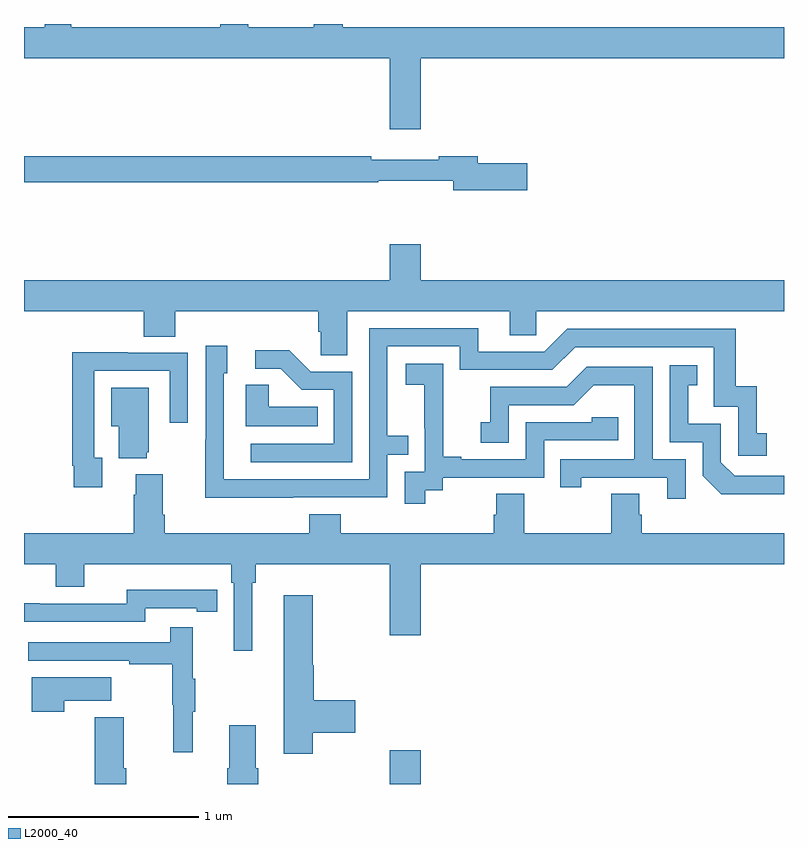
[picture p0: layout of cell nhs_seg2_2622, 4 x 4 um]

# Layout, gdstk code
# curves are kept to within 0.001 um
import gdstk
lib = gdstk.Library(unit=1e-6, precision=1e-09)
def R(c, l, rs):  # rectangles x0, y0, x1, y1
    for r in rs: c.add(gdstk.rectangle(r[:2], r[2:], *l))
def P(c, l, *ps):  # polygons
    for p in ps: c.add(gdstk.Polygon(p, *l))
L2000_40 = (2000, 40)

nhs_seg2_2622 = lib.new_cell('nhs_seg2_2622')
R(nhs_seg2_2622, L2000_40, [(248.924,659.8,249.088,659.977)])
P(nhs_seg2_2622, L2000_40, [(249.088,663.62),(251,663.62),(251,663.784),(248.678,663.784),(248.678,663.8),(248.525,663.8),(248.525,663.784),(248.181,663.784),(248.181,663.8),(248.033,663.8),(248.033,663.784),(247.249,663.784),(247.249,663.8),(247.109,663.8),(247.109,663.784),(247,663.784),(247,663.62),(248.924,663.62),(248.924,663.246),(249.088,663.246)],
  [(249.649,663.068),(249.388,663.068),(249.388,663.104),(249.184,663.104),(249.184,663.085),(248.828,663.085),(248.828,663.104),(247,663.104),(247,662.968),(248.864,662.968),(248.864,662.976),(249.26,662.976),(249.26,662.926),(249.649,662.926)],
  [(248.701,662.288),(249.557,662.288),(249.557,662.161),(249.696,662.161),(249.696,662.288),(251,662.288),(251,662.452),(249.088,662.452),(249.088,662.641),(248.924,662.641),(248.924,662.452),(247,662.452),(247,662.288),(247.631,662.288),(247.631,662.155),(247.796,662.155),(247.796,662.288),(248.549,662.288),(248.549,662.179),(248.562,662.179),(248.562,662.056),(248.701,662.056)],
  [(248.417,661.308),(248.913,661.308),(248.913,661.533),(249.023,661.533),(249.023,661.634),(248.913,661.634),(248.913,662.103),(249.294,662.103),(249.294,661.98),(249.78,661.98),(249.9,662.1),(250.629,662.1),(250.629,661.785),(250.758,661.785),(250.758,661.527),(250.909,661.527),(250.909,661.647),(250.856,661.647),(250.856,661.894),(250.745,661.894),(250.745,662.196),(249.858,662.196),(249.738,662.076),(249.391,662.076),(249.391,662.199),(248.817,662.199),(248.817,661.404),(248.052,661.404),(248.052,661.962),(248.071,661.962),(248.071,662.107),(247.956,662.107),(247.956,661.613),(247.954,661.613),(247.954,661.307)],
  [(248.727,661.971),(248.508,661.971),(248.395,662.084),(248.217,662.084),(248.217,661.986),(248.351,661.986),(248.462,661.875),(248.631,661.875),(248.631,661.59),(248.193,661.59),(248.193,661.494),(248.727,661.494)],
  [(247.411,661.518),(247.371,661.518),(247.371,661.974),(247.767,661.974),(247.767,661.701),(247.863,661.701),(247.863,662.07),(247.547,662.07),(247.547,662.072),(247.255,662.072),(247.255,661.474),(247.263,661.474),(247.263,661.362),(247.411,661.362)],
  [(249.112,661.345),(249.204,661.345),(249.204,661.413),(249.738,661.413),(249.738,661.608),(250.127,661.608),(250.127,661.731),(249.987,661.731),(249.987,661.704),(249.642,661.704),(249.642,661.509),(249.301,661.509),(249.301,661.522),(249.206,661.522),(249.206,661.805),(249.207,661.805),(249.207,662.011),(249.009,662.011),(249.009,661.901),(249.107,661.901),(249.107,661.673),(249.108,661.673),(249.108,661.443),(249.003,661.443),(249.003,661.275),(249.112,661.275)],
  [(251,661.422),(250.74,661.422),(250.668,661.494),(250.668,661.695),(250.495,661.695),(250.495,661.899),(250.544,661.899),(250.544,662.005),(250.398,662.005),(250.398,661.599),(250.572,661.599),(250.572,661.422),(250.67,661.325),(251,661.325)],
  [(250.482,661.509),(250.308,661.509),(250.308,661.995),(249.962,661.995),(249.857,661.89),(249.454,661.89),(249.454,661.705),(249.405,661.705),(249.405,661.596),(249.552,661.596),(249.552,661.794),(249.894,661.794),(249.998,661.898),(250.212,661.898),(250.212,661.509),(249.823,661.509),(249.823,661.362),(249.934,661.362),(249.934,661.413),(250.385,661.413),(250.385,661.302),(250.482,661.302)],
  [(248.546,661.786),(248.289,661.786),(248.289,661.901),(248.168,661.901),(248.168,661.682),(248.546,661.682)],
  [(247.646,661.545),(247.657,661.545),(247.657,661.885),(247.46,661.885),(247.46,661.682),(247.499,661.682),(247.499,661.514),(247.646,661.514)],
  [(251,661.12),(250.25,661.12),(250.25,661.218),(250.237,661.218),(250.237,661.328),(250.09,661.328),(250.09,661.12),(249.633,661.12),(249.633,661.328),(249.485,661.328),(249.485,661.218),(249.473,661.218),(249.473,661.12),(248.666,661.12),(248.666,661.219),(248.501,661.219),(248.501,661.12),(247.742,661.12),(247.742,661.216),(247.729,661.216),(247.729,661.429),(247.589,661.429),(247.589,661.322),(247.577,661.322),(247.577,661.12),(247,661.12),(247,660.956),(247.166,660.956),(247.166,660.839),(247.318,660.839),(247.318,660.956),(248.09,660.956),(248.09,660.86),(248.103,660.86),(248.103,660.501),(248.2,660.501),(248.2,660.86),(248.219,660.86),(248.219,660.956),(248.924,660.956),(248.924,660.582),(249.088,660.582),(249.088,660.956),(251,660.956)],
  [(247.638,660.726),(247.91,660.726),(247.91,660.706),(248.018,660.706),(248.018,660.822),(247.91,660.822),(247.91,660.823),(247.542,660.823),(247.542,660.75),(247.082,660.75),(247.082,660.752),(247,660.752),(247,660.654),(247.638,660.654)],
  [(248.52,660.071),(248.743,660.071),(248.743,660.242),(248.525,660.242),(248.525,660.425),(248.52,660.425),(248.52,660.793),(248.366,660.793),(248.366,659.958),(248.52,659.958)],
  [(247.889,660.179),(247.9,660.179),(247.9,660.353),(247.889,660.353),(247.889,660.625),(247.771,660.625),(247.771,660.546),(247.023,660.546),(247.023,660.45),(247.555,660.45),(247.555,660.43),(247.779,660.43),(247.779,660.216),(247.786,660.216),(247.786,659.967),(247.889,659.967)],
  [(247.211,660.239),(247.459,660.239),(247.459,660.361),(247.04,660.361),(247.04,660.18),(247.211,660.18)],
  [(247.538,659.884),(247.525,659.884),(247.525,660.151),(247.373,660.151),(247.373,659.8),(247.538,659.8)],
  [(248.234,659.884),(248.221,659.884),(248.221,660.109),(248.081,660.109),(248.081,659.884),(248.069,659.884),(248.069,659.8),(248.234,659.8)])

lib.write_gds('nhs_seg2_2622.gds')
